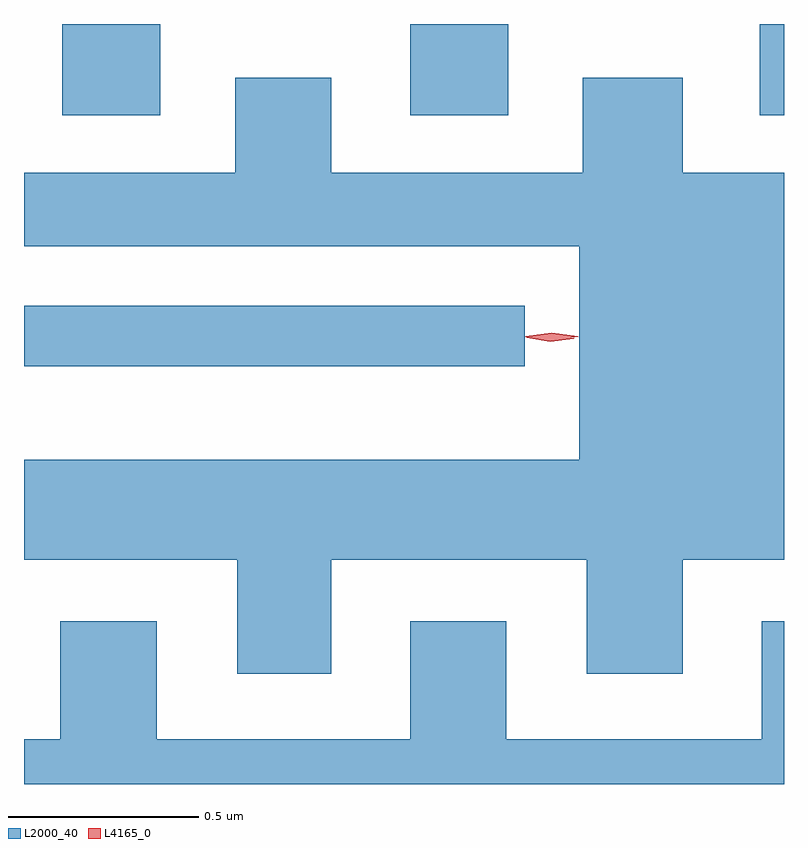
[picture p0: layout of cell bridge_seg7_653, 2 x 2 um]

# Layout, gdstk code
import gdstk
lib = gdstk.Library(unit=1e-6, precision=1e-09)
def R(c, l, rs):  # rectangles x0, y0, x1, y1
    for r in rs: c.add(gdstk.rectangle(r[:2], r[2:], *l))
def P(c, l, *ps):  # polygons
    for p in ps: c.add(gdstk.Polygon(p, *l))
L2000_40 = (2000, 40)
L4165_0 = (4165, 0)

bridge_seg7_653 = lib.new_cell('bridge_seg7_653')
R(bridge_seg7_653, L2000_40, [(786.08,1680.046,787.398,1680.204), (786.181,1680.706,786.439,1680.946), (787.096,1680.706,787.354,1680.946), (788.016,1680.706,788.08,1680.946)])
P(bridge_seg7_653, L2000_40, [(786.889,1679.536),(787.561,1679.536),(787.561,1679.236),(787.814,1679.236),(787.814,1679.536),(788.08,1679.536),(788.08,1680.554),(787.814,1680.554),(787.814,1680.804),(787.551,1680.804),(787.551,1680.554),(786.889,1680.554),(786.889,1680.804),(786.636,1680.804),(786.636,1680.554),(786.08,1680.554),(786.08,1680.361),(787.541,1680.361),(787.541,1679.799),(786.08,1679.799),(786.08,1679.536),(786.641,1679.536),(786.641,1679.236),(786.889,1679.236)],
  [(788.08,1679.374),(788.021,1679.374),(788.021,1679.064),(787.349,1679.064),(787.349,1679.374),(787.096,1679.374),(787.096,1679.064),(786.429,1679.064),(786.429,1679.374),(786.176,1679.374),(786.176,1679.064),(786.08,1679.064),(786.08,1678.946),(788.08,1678.946)])
P(bridge_seg7_653, L4165_0, [(787.469,1680.113),(787.4,1680.123),(787.399,1680.123),(787.4,1680.124),(787.469,1680.133),(787.537,1680.124),(787.538,1680.123),(787.537,1680.123)],
  [(787.465,1680.11),(787.403,1680.121),(787.403,1680.121),(787.403,1680.122),(787.465,1680.13),(787.527,1680.119),(787.528,1680.119),(787.527,1680.118)])

lib.write_gds('bridge_seg7_653.gds')
